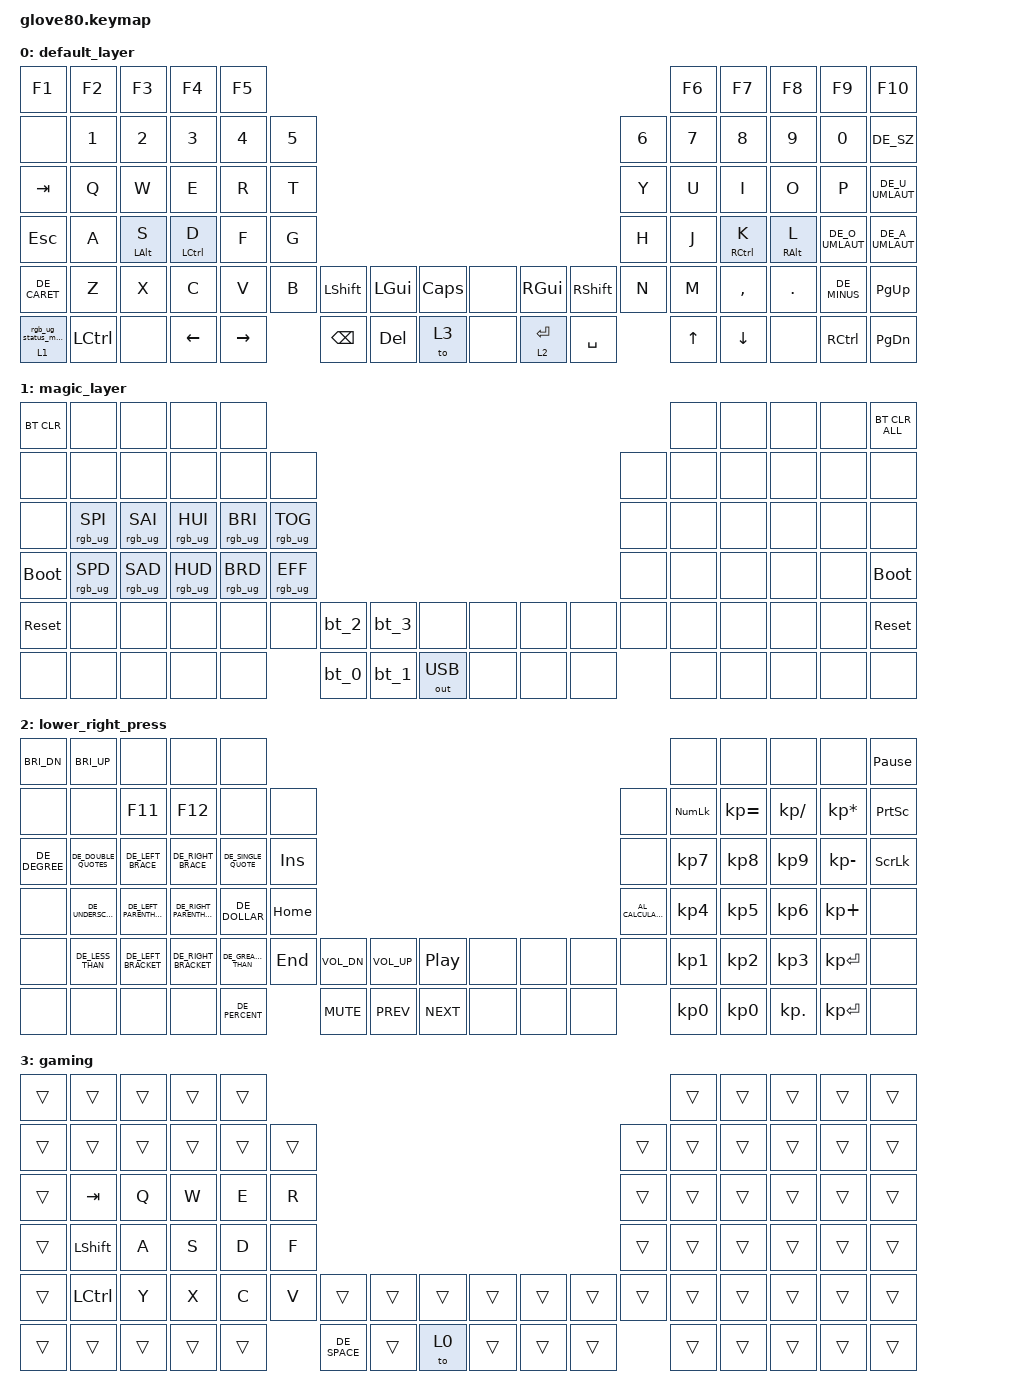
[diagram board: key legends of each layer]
/*
 * Copyright (c) 2020 The ZMK Contributors
 *
 * SPDX-License-Identifier: MIT
 */

#include <behaviors.dtsi>
#include <dt-bindings/zmk/bt.h>
#include <dt-bindings/zmk/keys.h>
#include <dt-bindings/zmk/outputs.h>
#include <dt-bindings/zmk/rgb.h>

#ifndef KEYMAP_DRAWER

#include "keys_de.h"

#endif

#define HYPER LC(LS(LG(LALT)))

// layers

#define DEFAULT 0
#define MAGIC 1
#define LOWER_RIGHT_PRESS 2
#define LOWER_LEFT_PRESS 3

/ {
    behaviors {
        magic: magic_hold_tap {
            compatible = "zmk,behavior-hold-tap";
            label = "MAGIC_HOLD_TAP";
            #binding-cells = <2>;
            flavor = "tap-preferred";
            tapping-term-ms = <200>;
            bindings = <&mo>, <&rgb_ug_status_macro>;
        };

        kp_and_layer: kp_and_layer {
            compatible = "zmk,behavior-hold-tap";
            #binding-cells = <2>;
            tapping-term-ms = <150>;
            bindings = <&mo>, <&kp>;

            flavor = "balanced";
            quick-tap-ms = <150>;
            require-prior-idle-ms = <125>;
        };

        kp_and_kp: kp_and_kp {
            compatible = "zmk,behavior-hold-tap";
            #binding-cells = <2>;
            tapping-term-ms = <150>;
            bindings = <&kp>, <&kp>;

            flavor = "balanced";
            quick-tap-ms = <150>;
            require-prior-idle-ms = <125>;
        };

        hrm_l: hrm_l {
            compatible = "zmk,behavior-hold-tap";
            #binding-cells = <2>;
            tapping-term-ms = <280>;
            bindings = <&kp>, <&kp>;

            flavor = "balanced";
            quick-tap-ms = <175>;
            require-prior-idle-ms = <150>;
            hold-trigger-key-positions = <16 28 29 30 40 41 42 55 56 57 58 59 60 61 62 73 74 75 76 77 78 79 72 5 6 17 18 19 31 32 43 44 45 63 7 8 9 20 21 33>;
            hold-trigger-on-release;
        };

        hrm_r: hrm_r {
            compatible = "zmk,behavior-hold-tap";
            #binding-cells = <2>;
            tapping-term-ms = <280>;
            bindings = <&kp>, <&kp>;

            flavor = "balanced";
            quick-tap-ms = <175>;
            require-prior-idle-ms = <150>;
            hold-trigger-key-positions = <0 1 2 3 4 10 11 12 13 14 22 23 24 25 26 34 35 36 37 38 39 46 47 48 49 50 51 52 53 54 64 65 66 67 68 69 70 15 27 71>;
            hold-trigger-on-release;
        };
    };

    macros {
        rgb_ug_status_macro: rgb_ug_status_macro_0 {
            label = "RGB_UG_STATUS";
            compatible = "zmk,behavior-macro";
            #binding-cells = <0>;
            bindings = <&rgb_ug RGB_STATUS>;
        };

        bt_0: bt_profile_macro_0 {
            label = "BT_0";
            compatible = "zmk,behavior-macro";
            #binding-cells = <0>;
            bindings = <&out OUT_BLE &bt BT_SEL 0>;
        };

        bt_1: bt_profile_macro_1 {
            label = "BT_1";
            compatible = "zmk,behavior-macro";
            #binding-cells = <0>;
            bindings = <&out OUT_BLE &bt BT_SEL 1>;
        };

        bt_2: bt_profile_macro_2 {
            label = "BT_2";
            compatible = "zmk,behavior-macro";
            #binding-cells = <0>;
            bindings = <&out OUT_BLE &bt BT_SEL 2>;
        };

        bt_3: bt_profile_macro_3 {
            label = "BT_3";
            compatible = "zmk,behavior-macro";
            #binding-cells = <0>;
            bindings = <&out OUT_BLE &bt BT_SEL 3>;
        };
    };

    combos {
        compatible = "zmk,combos";

        combo_l_top_mid {
            bindings = <&kp DE_LEFT_BRACE>;
            key-positions = <24 25>;
            require-prior-idle-ms = <100>;
            layers = <0>;
        };

        combo_l_top_right {
            bindings = <&kp DE_RIGHT_BRACE>;
            key-positions = <25 26>;
            require-prior-idle-ms = <100>;
            layers = <0>;
        };

        combo_l_mid_mid {
            bindings = <&kp DE_LEFT_PARENTHESIS>;
            key-positions = <36 37>;
            require-prior-idle-ms = <100>;
            layers = <0>;
        };

        combo_l_mid_right {
            bindings = <&kp DE_RIGHT_PARENTHESIS>;
            key-positions = <37 38>;
            require-prior-idle-ms = <100>;
            layers = <0>;
        };

        combo_l_bottom_mid {
            bindings = <&kp DE_LEFT_BRACKET>;
            key-positions = <49 48>;
            require-prior-idle-ms = <100>;
            layers = <0>;
        };

        combo_l_bottom_right {
            bindings = <&kp DE_RIGHT_BRACKET>;
            key-positions = <49 50>;
            require-prior-idle-ms = <100>;
            layers = <0>;
        };

        combo_l_top_left {
            bindings = <&kp DE_DOUBLE_QUOTES>;
            key-positions = <23 24>;
            require-prior-idle-ms = <100>;
            layers = <0>;
        };

        combo_l_top_outer {
            bindings = <&kp DE_SINGLE_QUOTE>;
            key-positions = <23 26>;
            require-prior-idle-ms = <100>;
            layers = <0>;
        };

        combo_l_bottom_left {
            bindings = <&kp DE_LESS_THAN>;
            key-positions = <47 48>;
            require-prior-idle-ms = <100>;
            layers = <0>;
        };

        combo_l_bottom_outer {
            bindings = <&kp DE_GREATER_THAN>;
            key-positions = <47 50>;
            require-prior-idle-ms = <100>;
            layers = <0>;
        };

        combo_l_mid_left {
            bindings = <&kp DE_UNDERSCORE>;
            key-positions = <35 36>;
            require-prior-idle-ms = <100>;
            layers = <0>;
        };

        combo_l_mid_outer {
            bindings = <&kp DE_DOLLAR>;
            key-positions = <35 38>;
            require-prior-idle-ms = <100>;
            layers = <0>;
        };

        combo_l_bottom_bottom_right {
            bindings = <&kp DE_PERCENT>;
            key-positions = <67 68>;
            require-prior-idle-ms = <100>;
            layers = <0>;
        };

        combo_r_top_left {
            bindings = <&kp DE_GRAVE>;
            key-positions = <29 30>;
            require-prior-idle-ms = <100>;
            layers = <0>;
        };

        combo_r_top_mid {
            bindings = <&kp DE_ACUTE>;
            key-positions = <30 31>;
            require-prior-idle-ms = <100>;
            layers = <0>;
        };

        combo_r_top_right {
            bindings = <&kp DE_PLUS>;
            key-positions = <31 32>;
            require-prior-idle-ms = <100>;
            layers = <0>;
        };

        combo_r_top_outer {
            bindings = <&kp DE_BACKSLASH>;
            key-positions = <32 29>;
            require-prior-idle-ms = <100>;
            layers = <0>;
        };

        combo_r_mid_left {
            bindings = <&kp DE_STAR>;
            key-positions = <41 42>;
            require-prior-idle-ms = <100>;
            layers = <0>;
        };

        combo_r_mid_mid {
            bindings = <&kp DE_EQUAL>;
            key-positions = <42 43>;
            require-prior-idle-ms = <100>;
            layers = <0>;
        };

        combo_r_mid_right {
            bindings = <&kp DE_HASH>;
            key-positions = <43 44>;
            require-prior-idle-ms = <100>;
            layers = <0>;
        };

        combo_r_mid_outer {
            bindings = <&kp DE_SLASH>;
            key-positions = <44 41>;
            require-prior-idle-ms = <100>;
            layers = <0>;
        };

        combo_r_bottom_left {
            bindings = <&kp DE_EXCLAMATION>;
            key-positions = <59 60>;
            require-prior-idle-ms = <100>;
            layers = <0>;
        };

        combo_r_bottom_mid {
            bindings = <&kp DE_QMARK>;
            key-positions = <60 61>;
            require-prior-idle-ms = <100>;
            layers = <0>;
        };

        combo_r_bottom_right {
            bindings = <&kp DE_TILDE>;
            key-positions = <61 62>;
            require-prior-idle-ms = <100>;
            layers = <0>;
        };

        combo_r_bottom_outer {
            bindings = <&kp DE_PIPE>;
            key-positions = <62 59>;
            require-prior-idle-ms = <100>;
            layers = <0>;
        };

        combo_r_bottom_bottom_left {
            bindings = <&kp DE_AMPERSAND>;
            key-positions = <75 76>;
            require-prior-idle-ms = <100>;
            layers = <0>;
        };

        combo_l_mid_left_left {
            bindings = <&kp DE_DEGREE>;
            key-positions = <34 35>;
            require-prior-idle-ms = <100>;
            layers = <0>;
        };
    };

    keymap {
        compatible = "zmk,keymap";

        default_layer {
            bindings = <
&kp F1        &kp F2     &kp F3         &kp F4          &kp F5                                                                                                 &kp F6  &kp F7          &kp F8         &kp F9           &kp F10
&none         &kp N1     &kp N2         &kp N3          &kp N4     &kp N5                                                                              &kp N6  &kp N7  &kp N8          &kp N9         &kp N0           &kp DE_SZ
&kp TAB       &kp Q      &kp W          &kp E           &kp R      &kp T                                                                               &kp Y   &kp U   &kp I           &kp O          &kp P            &kp DE_U_UMLAUT
&kp ESC       &kp A      &hrm_l LALT S  &hrm_l LCTRL D  &kp F      &kp G                                                                               &kp H   &kp J   &hrm_r RCTRL K  &hrm_r RALT L  &kp DE_O_UMLAUT  &kp DE_A_UMLAUT
&kp DE_CARET  &kp Z      &kp X          &kp C           &kp V      &kp B   &kp LSHFT  &kp LGUI  &kp CAPSLOCK    &none  &kp RGUI             &kp RSHFT  &kp N   &kp M   &kp COMMA       &kp DOT        &kp DE_MINUS     &kp PG_UP
&magic 1 0    &kp LCTRL  &none          &kp LEFT        &kp RIGHT          &kp BSPC   &kp DEL   &to 3           &none  &kp_and_layer 2 RET  &kp SPACE          &kp UP  &kp DOWN        &none          &kp RCTRL        &kp PG_DN
            >;
        };

        magic_layer {
            bindings = <
&bt BT_CLR   &none            &none            &none            &none                                                                                       &none  &none  &none  &none  &bt BT_CLR_ALL
&none        &none            &none            &none            &none            &none                                                               &none  &none  &none  &none  &none  &none
&none        &rgb_ug RGB_SPI  &rgb_ug RGB_SAI  &rgb_ug RGB_HUI  &rgb_ug RGB_BRI  &rgb_ug RGB_TOG                                                     &none  &none  &none  &none  &none  &none
&bootloader  &rgb_ug RGB_SPD  &rgb_ug RGB_SAD  &rgb_ug RGB_HUD  &rgb_ug RGB_BRD  &rgb_ug RGB_EFF                                                     &none  &none  &none  &none  &none  &bootloader
&sys_reset   &none            &none            &none            &none            &none            &bt_2  &bt_3  &none           &none  &none  &none  &none  &none  &none  &none  &none  &sys_reset
&none        &none            &none            &none            &none                             &bt_0  &bt_1  &out OUT_USB    &none  &none  &none         &none  &none  &none  &none  &none
            >;
        };

        lower_right_press {
            bindings = <
&kp C_BRI_DN   &kp C_BRI_UP          &none                    &none                     &none                                                                                                                &none       &none         &none         &none            &kp PAUSE_BREAK
&none          &none                 &kp F11                  &kp F12                   &none                &none                                                                      &none                &kp KP_NUM  &kp KP_EQUAL  &kp KP_SLASH  &kp KP_MULTIPLY  &kp PRINTSCREEN
&kp DE_DEGREE  &kp DE_DOUBLE_QUOTES  &kp DE_LEFT_BRACE        &kp DE_RIGHT_BRACE        &kp DE_SINGLE_QUOTE  &kp INSERT                                                                 &none                &kp KP_N7   &kp KP_N8     &kp KP_N9     &kp KP_MINUS     &kp SCROLLLOCK
&none          &kp DE_UNDERSCORE     &kp DE_LEFT_PARENTHESIS  &kp DE_RIGHT_PARENTHESIS  &kp DE_DOLLAR        &kp HOME                                                                   &kp C_AL_CALCULATOR  &kp KP_N4   &kp KP_N5     &kp KP_N6     &kp KP_PLUS      &none
&none          &kp DE_LESS_THAN      &kp DE_LEFT_BRACKET      &kp DE_RIGHT_BRACKET      &kp DE_GREATER_THAN  &kp END     &kp C_VOL_DN  &kp C_VOL_UP  &kp C_PP      &none  &none  &none  &none                &kp KP_N1   &kp KP_N2     &kp KP_N3     &kp KP_ENTER     &none
&none          &none                 &none                    &none                     &kp DE_PERCENT                   &kp C_MUTE    &kp C_PREV    &kp C_NEXT    &none  &none  &none                       &kp KP_N0   &kp KP_N0     &kp KP_DOT    &kp KP_ENTER     &none
            >;
        };

        gaming {
            bindings = <
&trans  &trans     &trans  &trans  &trans                                                                          &trans  &trans  &trans  &trans  &trans
&trans  &trans     &trans  &trans  &trans  &trans                                                          &trans  &trans  &trans  &trans  &trans  &trans
&trans  &kp TAB    &kp Q   &kp W   &kp E   &kp R                                                           &trans  &trans  &trans  &trans  &trans  &trans
&trans  &kp LSHFT  &kp A   &kp S   &kp D   &kp F                                                           &trans  &trans  &trans  &trans  &trans  &trans
&trans  &kp LCTRL  &kp Y   &kp X   &kp C   &kp V   &trans        &trans  &trans    &trans  &trans  &trans  &trans  &trans  &trans  &trans  &trans  &trans
&trans  &trans     &trans  &trans  &trans          &kp DE_SPACE  &trans  &to 0     &trans  &trans  &trans          &trans  &trans  &trans  &trans  &trans
            >;
        };
    };
};
